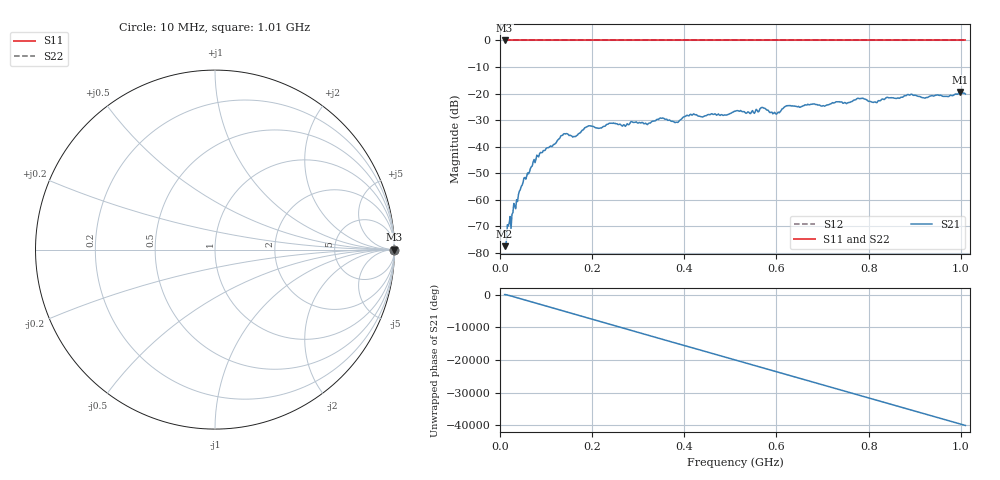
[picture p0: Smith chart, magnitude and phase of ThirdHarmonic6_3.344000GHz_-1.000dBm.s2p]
! 8/17/2025 10:32:21 AM
! C:\ANRITSUVNA\TEMP\TEMP.S2P
! CHANNEL.1
! TR.MEASUREMENT
! RAW.DATA
! RF.CORRECTION.OFF
! AVERAGING.OFF
! IF.BANDWIDTH: 5KHZ
! SWEEPTYPE:  FREQ.SWEEP(Linear)
! Reference Plane Port Info
! PORT:  PORT1  PORT2
! DISTANCE:  0  m  0  m
! TIME:  0  s  0  s
! PHASE.OFFSET:  0  deg.  0  deg.
! LOSS:  0  dB  0  dB
! REF.LOSS:  0  dB  0  dB
! REF.FREQ:  0  Hz  0  Hz
! Power Info
! POWER:  -20  dBm  -20  dBm
! EFF.POWER:  -20  dBm  -20  dBm
! SOURCE.ATTEN:  0  dB  0  dB
! TEST.ATTEN:  0  dB  0  dB
# GHZ S RI R 50.0
! FREQ.GHZ  S11RE  S11IM  S21RE  S21IM  S12RE  S12IM  S22RE  S22IM
!; PortSelection: Port_12
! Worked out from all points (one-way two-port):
!   501 points, 10 MHz to 1.01 GHz, reference 50 ohm
!   highest |S21| = -19.43 dB at 998 MHz (marker M1); lowest = -77.5 dB at 10 MHz (marker M2)
!   lowest |S11| = 0.0 dB at 10 MHz (marker M3)
!   |S11| at or under -10 dB: nowhere
!   |S22| runs from 0.0 to 0.0 dB; largest |S21 - S12| = 1.1
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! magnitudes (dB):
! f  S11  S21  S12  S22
! 10 MHz  0.0  -77.5  0.0  0.0
! 18 MHz  0.0  -70.0  0.0  0.0
! 44 MHz  0.0  -56.3  0.0  0.0
! 76 MHz  0.0  -46.1  0.0  0.0
! 136 MHz  0.0  -35.7  0.0  0.0
! 162 MHz  0.0  -36.2  0.0  0.0
! 178 MHz  0.0  -33.9  0.0  0.0
! 194 MHz  0.0  -32.2  0.0  0.0
! 322 MHz  0.0  -31.3  0.0  0.0
! 344 MHz  0.0  -29.8  0.0  0.0
! 382 MHz  0.0  -30.8  0.0  0.0
! 416 MHz  0.0  -28.1  0.0  0.0
! 510 MHz  0.0  -26.7  0.0  0.0
! 570 MHz  0.0  -25.3  0.0  0.0
! 596 MHz  0.0  -27.1  0.0  0.0
! 622 MHz  0.0  -24.6  0.0  0.0
! 678 MHz  0.0  -24.0  0.0  0.0
! 780 MHz  0.0  -21.9  0.0  0.0
! 814 MHz  0.0  -23.2  0.0  0.0
! 844 MHz  0.0  -21.6  0.0  0.0
! 998 MHz  0.0  -19.4  0.0  0.0
! 1.01 GHz  0.0  -20.2  0.0  0.0
